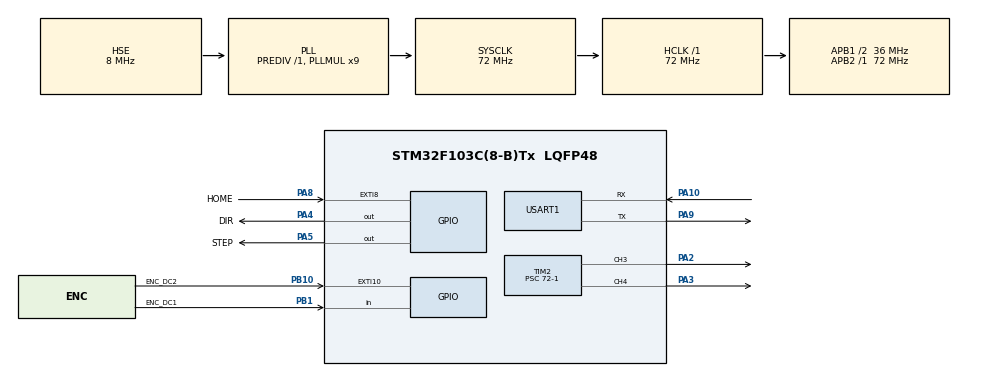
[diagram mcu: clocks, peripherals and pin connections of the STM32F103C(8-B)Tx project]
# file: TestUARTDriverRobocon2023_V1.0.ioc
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FREERTOS.Tasks01=TaskPos,0,128,Task_Pos,Default,NULL,Dynamic,NULL,NULL;TaskSpeed,1,128,Task_Speed,Default,NULL,Dynamic,NULL,NULL
Mcu.Family=STM32F1
Mcu.Name=STM32F103C(8-B)Tx
Mcu.Package=LQFP48
NVIC.EXTI15_10_IRQn=true\:5\:0\:false\:false\:true\:true\:true\:true\:true
NVIC.EXTI9_5_IRQn=true\:5\:0\:false\:false\:true\:true\:true\:true\:true
NVIC.PriorityGroup=NVIC_PRIORITYGROUP_4
NVIC.TIM3_IRQn=true\:5\:0\:true\:false\:true\:true\:true\:true\:true
NVIC.TIM4_IRQn=true\:15\:0\:false\:false\:true\:false\:false\:true\:true
NVIC.TimeBase=TIM4_IRQn
NVIC.TimeBaseIP=TIM4
NVIC.USART1_IRQn=true\:5\:0\:true\:false\:true\:true\:true\:true\:true
PA10.Mode=Asynchronous
PA10.Signal=USART1_RX
PA13.Mode=Serial_Wire
PA13.Signal=SYS_JTMS-SWDIO
PA14.Mode=Serial_Wire
PA14.Signal=SYS_JTCK-SWCLK
PA2.Signal=S_TIM2_CH3
PA3.Signal=S_TIM2_CH4
PA4.GPIO_Label=DIR
PA4.Signal=GPIO_Output
PA5.GPIO_Label=STEP
PA5.Signal=GPIO_Output
PA8.GPIO_Label=HOME
PA8.GPIO_PuPd=GPIO_PULLUP
PA8.Signal=GPXTI8
PA9.Mode=Asynchronous
PA9.Signal=USART1_TX
PB1.GPIO_Label=ENC_DC1
PB1.GPIO_PuPd=GPIO_PULLUP
PB1.Signal=GPIO_Input
PB10.GPIO_Label=ENC_DC2
PB10.GPIO_PuPd=GPIO_PULLUP
PB10.Signal=GPXTI10
PD0-OSC_IN.Mode=HSE-External-Oscillator
PD0-OSC_IN.Signal=RCC_OSC_IN
PD1-OSC_OUT.Mode=HSE-External-Oscillator
PD1-OSC_OUT.Signal=RCC_OSC_OUT
ProjectManager.HeapSize=0x200
ProjectManager.StackSize=0x400
ProjectManager.TargetToolchain=STM32CubeIDE
RCC.AHBFreq_Value=72000000
RCC.APB1CLKDivider=RCC_HCLK_DIV2
RCC.APB1Freq_Value=36000000
RCC.APB1TimFreq_Value=72000000
RCC.APB2Freq_Value=72000000
RCC.APB2TimFreq_Value=72000000
RCC.HCLKFreq_Value=72000000
RCC.PLLMUL=RCC_PLL_MUL9
RCC.PLLSourceVirtual=RCC_PLLSOURCE_HSE
RCC.SYSCLKFreq_VALUE=72000000
RCC.SYSCLKSource=RCC_SYSCLKSOURCE_PLLCLK
RCC.USBFreq_Value=72000000
SH.S_TIM2_CH3.0=TIM2_CH3,PWM Generation3 CH3
SH.S_TIM2_CH4.0=TIM2_CH4,PWM Generation4 CH4
TIM2.Channel-PWM\ Generation3\ CH3=TIM_CHANNEL_3
TIM2.Channel-PWM\ Generation4\ CH4=TIM_CHANNEL_4
TIM2.Period=1000-1
TIM2.Prescaler=72-1
TIM3.Period=1000-1
TIM3.Prescaler=72-1
USART1.VirtualMode=VM_ASYNC
VP_FREERTOS_VS_CMSIS_V1.Mode=CMSIS_V1
VP_SYS_VS_tim4.Mode=TIM4
VP_TIM2_VS_ClockSourceINT.Mode=Internal
VP_TIM3_VS_ClockSourceINT.Mode=Internal
board=custom

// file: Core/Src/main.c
/* USER CODE BEGIN Header */
/**
  ******************************************************************************
  * @file           : main.c
  * @brief          : Main program body
  ******************************************************************************
  * @attention
  *
  * Copyright (c) 2023 STMicroelectronics.
  * All rights reserved.
  *
  * This software is licensed under terms that can be found in the LICENSE file
  * in the root directory of this software component.
  * If no LICENSE file comes with this software, it is provided AS-IS.
  *
  ******************************************************************************
  */
/* USER CODE END Header */
#include "main.h"
#include "cmsis_os.h"

/* USER CODE BEGIN Includes */
#include<stdlib.h>
/* USER CODE END Includes */

TIM_HandleTypeDef htim2;
TIM_HandleTypeDef htim3;

UART_HandleTypeDef huart1;

osThreadId TaskPosHandle;
osThreadId TaskSpeedHandle;

void SystemClock_Config(void);
static void MX_GPIO_Init(void);
static void MX_USART1_UART_Init(void);
static void MX_TIM2_Init(void);
static void MX_TIM3_Init(void);
void Task_Pos(void const * argument);
void Task_Speed(void const * argument);

/* USER CODE BEGIN 0 */

#define ID 1

int BoardID;
int intial_Rotate = 300;
uint8_t Mode;
int Dir;
uint16_t Speed;
uint16_t Rotate ;

//PID_SPEED_VAR:
int count1,home;
int pre_vt;
int  count1,precount1;
double e1;
double v1; // van toc tho
double v1Filt; // van toc sau khi duoc loc
double v1Prev; // van toc truoc do phuc vu bo loc
double v_target; // van toc nham toi
double u1; // tổng
double kp1 = 0.5,ki1 = 5,kd1=0; // chỉ số khâu P,I
double up1,ui1,ud1,ui_p1;

int dir , pwm; // biến chieu và tốc độ
double pos;

//int p_target;
//double e2;
//double ei2;
//double ed2;
//double pre_e2;
//double u2;
//double kp2 = 0.4, ki2 = 0.0005, kd2 = 0.3;
//double up2,ui2,ud2,ui_p2;
//int counter2;
int preMode;

int mode=3;
int delay; //control toc do dong co buoc
int currentAngle; // goc hien tai
int numstep; //so buoc can di
int pre_angle;
double anglePerStep=1;//che do /1;
int angle;//goc can huong toi

char UARTRX1_Buffer[17];
char DataMain[17];

void HAL_UART_RxCpltCallback(UART_HandleTypeDef *huart){
	if(huart->Instance == USART1){
		HAL_UART_Receive_IT(&huart1, (uint8_t*)UARTRX1_Buffer, 17);

		int ViTriData = -1;
		for(int i = 0; i <= 16; ++i){
			if(UARTRX1_Buffer[i] == 149){
				ViTriData = i;
			}
		}

		if(ViTriData != -1){
			int cnt = 0;
			while(cnt < 17){
				DataMain[cnt] = UARTRX1_Buffer[ViTriData];
				++ViTriData;
				if(ViTriData == 17){
					ViTriData = 0;
				}
				++cnt;
			}
		}

		if(BoardID == 1){
			Mode = (DataMain[1] >> 1) & 3;
			if((DataMain[1] & 1) == 0){
				Dir = -1;
			}
			else if((DataMain[1] & 1) == 1){
				Dir = 1;
			}

			Speed = DataMain[2] << 8 | DataMain[3];
			Rotate = DataMain[4] << 8 | DataMain[5];
		}
		else if(BoardID == 2){
			Mode = (DataMain[6] >> 1) & 3;
			if((DataMain[6] & 1) == 0){
				Dir = -1;
			}
			else if((DataMain[6] & 1) == 1){
				Dir = 1;
			}

			Speed = DataMain[7] << 8 | DataMain[8];
			Rotate = DataMain[9] << 8 | DataMain[10];
		}
		else if(BoardID == 3){
			Mode = (DataMain[11] >> 1) & 3;
			if((DataMain[11] & 1) == 0){
				Dir = -1;
			}
			else if((DataMain[11] & 1) == 1){
				Dir = 1;
			}

			Speed = DataMain[12] << 8 | DataMain[13];
			Rotate = DataMain[14] << 8 | DataMain[15];
		}
	}
}
/* USER CODE END 0 */

int main(void)
{

  /* MCU Configuration--------------------------------------------------------*/

  /* Reset of all peripherals, Initializes the Flash interface and the Systick. */
  HAL_Init();

  /* Configure the system clock */
  SystemClock_Config();

  /* Initialize all configured peripherals */
  MX_GPIO_Init();
  MX_USART1_UART_Init();
  MX_TIM2_Init();
  MX_TIM3_Init();
  /* USER CODE BEGIN 2 */
  HAL_TIM_PWM_Start(&htim2,TIM_CHANNEL_3);
  HAL_TIM_PWM_Start(&htim2,TIM_CHANNEL_4);
  HAL_TIM_Base_Start_IT(&htim3);
  BoardID = ID;
  while(HAL_UART_Receive_IT(&huart1, (uint8_t*)UARTRX1_Buffer, 17)!=HAL_OK){};

  /* USER CODE END 2 */

  /* Create the thread(s) */
  /* definition and creation of TaskPos */
  osThreadDef(TaskPos, Task_Pos, osPriorityNormal, 0, 128);
  TaskPosHandle = osThreadCreate(osThread(TaskPos), NULL);

  /* definition and creation of TaskSpeed */
  osThreadDef(TaskSpeed, Task_Speed, osPriorityAboveNormal, 0, 128);
  TaskSpeedHandle = osThreadCreate(osThread(TaskSpeed), NULL);

  /* Start scheduler */
  osKernelStart();

  /* We should never get here as control is now taken by the scheduler */
  /* Infinite loop */
  /* USER CODE BEGIN WHILE */
  while (1)
  {

//	  	for(int i = 0; i<= sizeof(UARTRX1_Buffer); ++i){
////	  		ViTriData = -1;
//	  		if((UARTRX1_Buffer[i] == 123) && (UARTRX1_Buffer[i + 6] == BoardID)){
//	  			ViTriData = i;
//	  			memset(DataRecieve, 0, sizeof(DataRecieve));
//	  			int cnt = -1;
//	  			while(1){
//	  				++cnt;
//	  				DataRecieve[cnt] = UARTRX1_Buffer[ViTriData];
//	  				++ViTriData;
//	  				if(UARTRX1_Buffer[ViTriData] == 13){
//	  					break;
//	  				}
//	  			}
//	  			break;
//	  		}
//	  	}
//
//	  	uint16_t _size = sizeof(UARTRX1_Buffer);
//		huart1.RxXferCount = _size;
//		huart1.pRxBuffPtr = (uint8_t *)&UARTRX1_Buffer[0];
//		memset(UARTRX1_Buffer, 0, _size);

//		HAL_Delay(500);
    /* USER CODE END WHILE */

  }
}

void SystemClock_Config(void)
{
  RCC_OscInitTypeDef RCC_OscInitStruct = {0};
  RCC_ClkInitTypeDef RCC_ClkInitStruct = {0};

  /** Initializes the RCC Oscillators according to the specified parameters
  * in the RCC_OscInitTypeDef structure.
  */
  RCC_OscInitStruct.OscillatorType = RCC_OSCILLATORTYPE_HSE;
  RCC_OscInitStruct.HSEState = RCC_HSE_ON;
  RCC_OscInitStruct.HSEPredivValue = RCC_HSE_PREDIV_DIV1;
  RCC_OscInitStruct.HSIState = RCC_HSI_ON;
  RCC_OscInitStruct.PLL.PLLState = RCC_PLL_ON;
  RCC_OscInitStruct.PLL.PLLSource = RCC_PLLSOURCE_HSE;
  RCC_OscInitStruct.PLL.PLLMUL = RCC_PLL_MUL9;
  if (HAL_RCC_OscConfig(&RCC_OscInitStruct) != HAL_OK)
  {
    Error_Handler();
  }

  /** Initializes the CPU, AHB and APB buses clocks
  */
  RCC_ClkInitStruct.ClockType = RCC_CLOCKTYPE_HCLK|RCC_CLOCKTYPE_SYSCLK
                              |RCC_CLOCKTYPE_PCLK1|RCC_CLOCKTYPE_PCLK2;
  RCC_ClkInitStruct.SYSCLKSource = RCC_SYSCLKSOURCE_PLLCLK;
  RCC_ClkInitStruct.AHBCLKDivider = RCC_SYSCLK_DIV1;
  RCC_ClkInitStruct.APB1CLKDivider = RCC_HCLK_DIV2;
  RCC_ClkInitStruct.APB2CLKDivider = RCC_HCLK_DIV1;

  if (HAL_RCC_ClockConfig(&RCC_ClkInitStruct, FLASH_LATENCY_2) != HAL_OK)
  {
    Error_Handler();
  }
}

static void MX_TIM2_Init(void)
{

  TIM_ClockConfigTypeDef sClockSourceConfig = {0};
  TIM_MasterConfigTypeDef sMasterConfig = {0};
  TIM_OC_InitTypeDef sConfigOC = {0};

  htim2.Instance = TIM2;
  htim2.Init.Prescaler = 72-1;
  htim2.Init.CounterMode = TIM_COUNTERMODE_UP;
  htim2.Init.Period = 1000-1;
  htim2.Init.ClockDivision = TIM_CLOCKDIVISION_DIV1;
  htim2.Init.AutoReloadPreload = TIM_AUTORELOAD_PRELOAD_DISABLE;
  if (HAL_TIM_Base_Init(&htim2) != HAL_OK)
  {
    Error_Handler();
  }
  sClockSourceConfig.ClockSource = TIM_CLOCKSOURCE_INTERNAL;
  if (HAL_TIM_ConfigClockSource(&htim2, &sClockSourceConfig) != HAL_OK)
  {
    Error_Handler();
  }
  if (HAL_TIM_PWM_Init(&htim2) != HAL_OK)
  {
    Error_Handler();
  }
  sMasterConfig.MasterOutputTrigger = TIM_TRGO_RESET;
  sMasterConfig.MasterSlaveMode = TIM_MASTERSLAVEMODE_DISABLE;
  if (HAL_TIMEx_MasterConfigSynchronization(&htim2, &sMasterConfig) != HAL_OK)
  {
    Error_Handler();
  }
  sConfigOC.OCMode = TIM_OCMODE_PWM1;
  sConfigOC.Pulse = 0;
  sConfigOC.OCPolarity = TIM_OCPOLARITY_HIGH;
  sConfigOC.OCFastMode = TIM_OCFAST_DISABLE;
  if (HAL_TIM_PWM_ConfigChannel(&htim2, &sConfigOC, TIM_CHANNEL_3) != HAL_OK)
  {
    Error_Handler();
  }
  if (HAL_TIM_PWM_ConfigChannel(&htim2, &sConfigOC, TIM_CHANNEL_4) != HAL_OK)
  {
    Error_Handler();
  }
  HAL_TIM_MspPostInit(&htim2);

}

static void MX_TIM3_Init(void)
{

  TIM_ClockConfigTypeDef sClockSourceConfig = {0};
  TIM_MasterConfigTypeDef sMasterConfig = {0};

  htim3.Instance = TIM3;
  htim3.Init.Prescaler = 72-1;
  htim3.Init.CounterMode = TIM_COUNTERMODE_UP;
  htim3.Init.Period = 1000-1;
  htim3.Init.ClockDivision = TIM_CLOCKDIVISION_DIV1;
  htim3.Init.AutoReloadPreload = TIM_AUTORELOAD_PRELOAD_DISABLE;
  if (HAL_TIM_Base_Init(&htim3) != HAL_OK)
  {
    Error_Handler();
  }
  sClockSourceConfig.ClockSource = TIM_CLOCKSOURCE_INTERNAL;
  if (HAL_TIM_ConfigClockSource(&htim3, &sClockSourceConfig) != HAL_OK)
  {
    Error_Handler();
  }
  sMasterConfig.MasterOutputTrigger = TIM_TRGO_RESET;
  sMasterConfig.MasterSlaveMode = TIM_MASTERSLAVEMODE_DISABLE;
  if (HAL_TIMEx_MasterConfigSynchronization(&htim3, &sMasterConfig) != HAL_OK)
  {
    Error_Handler();
  }

}

static void MX_USART1_UART_Init(void)
{

  huart1.Instance = USART1;
  huart1.Init.BaudRate = 115200;
  huart1.Init.WordLength = UART_WORDLENGTH_8B;
  huart1.Init.StopBits = UART_STOPBITS_1;
  huart1.Init.Parity = UART_PARITY_NONE;
  huart1.Init.Mode = UART_MODE_TX_RX;
  huart1.Init.HwFlowCtl = UART_HWCONTROL_NONE;
  huart1.Init.OverSampling = UART_OVERSAMPLING_16;
  if (HAL_UART_Init(&huart1) != HAL_OK)
  {
    Error_Handler();
  }

}

static void MX_GPIO_Init(void)
{
  GPIO_InitTypeDef GPIO_InitStruct = {0};

  /* GPIO Ports Clock Enable */
  __HAL_RCC_GPIOD_CLK_ENABLE();
  __HAL_RCC_GPIOA_CLK_ENABLE();
  __HAL_RCC_GPIOB_CLK_ENABLE();

  /*Configure GPIO pin Output Level */
  HAL_GPIO_WritePin(GPIOA, DIR_Pin|STEP_Pin, GPIO_PIN_RESET);

  /*Configure GPIO pins : DIR_Pin STEP_Pin */
  GPIO_InitStruct.Pin = DIR_Pin|STEP_Pin;
  GPIO_InitStruct.Mode = GPIO_MODE_OUTPUT_PP;
  GPIO_InitStruct.Pull = GPIO_NOPULL;
  GPIO_InitStruct.Speed = GPIO_SPEED_FREQ_LOW;
  HAL_GPIO_Init(GPIOA, &GPIO_InitStruct);

  /*Configure GPIO pin : ENC_DC1_Pin */
  GPIO_InitStruct.Pin = ENC_DC1_Pin;
  GPIO_InitStruct.Mode = GPIO_MODE_INPUT;
  GPIO_InitStruct.Pull = GPIO_PULLUP;
  HAL_GPIO_Init(ENC_DC1_GPIO_Port, &GPIO_InitStruct);

  /*Configure GPIO pin : ENC_DC2_Pin */
  GPIO_InitStruct.Pin = ENC_DC2_Pin;
  GPIO_InitStruct.Mode = GPIO_MODE_IT_RISING;
  GPIO_InitStruct.Pull = GPIO_PULLUP;
  HAL_GPIO_Init(ENC_DC2_GPIO_Port, &GPIO_InitStruct);

  /*Configure GPIO pin : HOME_Pin */
  GPIO_InitStruct.Pin = HOME_Pin;
  GPIO_InitStruct.Mode = GPIO_MODE_IT_RISING;
  GPIO_InitStruct.Pull = GPIO_PULLUP;
  HAL_GPIO_Init(HOME_GPIO_Port, &GPIO_InitStruct);

  /* EXTI interrupt init*/
  HAL_NVIC_SetPriority(EXTI9_5_IRQn, 5, 0);
  HAL_NVIC_EnableIRQ(EXTI9_5_IRQn);

  HAL_NVIC_SetPriority(EXTI15_10_IRQn, 5, 0);
  HAL_NVIC_EnableIRQ(EXTI15_10_IRQn);

}

/* USER CODE BEGIN 4 */

void HAL_GPIO_EXTI_Callback(uint16_t GPIO_Pin)
{
	//Encoder DC-SPEED
	if (GPIO_Pin == ENC_DC2_Pin){
		if (HAL_GPIO_ReadPin(ENC_DC1_GPIO_Port,ENC_DC1_Pin) == 0) {count1++;}
		else {count1--;}
	}
	if(GPIO_Pin == HOME_Pin){
			home = 1;
		}
}
int vPos;
void driveStep(){
	int n =0;

	if(angle > 1000){angle = currentAngle;}
		if( currentAngle != angle ){
//			vPos = 0;
			if( currentAngle < angle){
				HAL_GPIO_WritePin(DIR_GPIO_Port, DIR_Pin, 1);
				n = angle - currentAngle;
				numstep = n;
			}
			else if( currentAngle > angle){
				HAL_GPIO_WritePin(DIR_GPIO_Port, DIR_Pin, 0);
				n = currentAngle - angle;
				numstep = n;
			}
			for(int x = 0; x < numstep; x++) {
//				if ((x > 3/5*numstep)&&(x<4/5*numstep)){delay = 2;}
//				else if (x>4/5*numstep)  delay = 3;
//				else delay = 1;
				HAL_GPIO_WritePin(STEP_GPIO_Port, STEP_Pin, 1);
				osDelay(1);
				HAL_GPIO_WritePin(STEP_GPIO_Port, STEP_Pin, 0);
				osDelay(1);
			}

			currentAngle = angle;
		}
}
int stp;
void findHome(){// Tim lai nha
		Rotate = intial_Rotate;
		angle = intial_Rotate;
		currentAngle = intial_Rotate;

		for (stp = 0;stp<300*3;stp++){
			HAL_GPIO_WritePin(DIR_GPIO_Port, DIR_Pin, 1);
			HAL_GPIO_WritePin(STEP_GPIO_Port, STEP_Pin, 1);
			osDelay(1);
			HAL_GPIO_WritePin(STEP_GPIO_Port, STEP_Pin, 0);
			osDelay(1);
			if (home == 1)break;
		}
		for (stp = 0;stp<400*3;stp++){
			HAL_GPIO_WritePin(DIR_GPIO_Port, DIR_Pin, 0);
			HAL_GPIO_WritePin(STEP_GPIO_Port, STEP_Pin, 1);
			osDelay(1);
			HAL_GPIO_WritePin(STEP_GPIO_Port, STEP_Pin, 0);
			osDelay(1);
			if (home == 1)break;
		}

}
double udf2,uf2_p;
//void posControlPID(){
//
//	e2 = p_target - counter2;
//
//	up2 = kp2*e2;
//	ud2 = kd2*(e2 - pre_e2)/0.001;
//	ui2 = ui_p2 + ki2*e2*0.001;
//	udf2 = (1-0.5)*uf2_p+0.5*ud2;
//
//	pre_e2 = e2;
//	ui_p2 = ui2;
//	uf2_p = udf2;
//
//	u2 = up2 + udf2+ui2;
//	if (u2>0)dir=-1;
//	else if(u2<0)dir = 1;
//	else dir = 0;
//	if(u2>400)u2 =400;
//	else if (u2<-300)u2 =-300;
//	pwm = abs(u2);
//	if ((pwm<130)&&(e2!=0)){
//		pwm = 130;
//
//	}
//}
double pre1;
double ui1max = 1000;
void calculatePIDSpeed(){

	e1 = v_target - v1; // tinh toan loi ty le

	up1 = kp1*e1;
	ui1 = ui_p1 + ki1*e1*0.001;
	if (ui1>ui1max)ui1 = ui1max;
	else if(ui1<-ui1max)ui1 = -ui1max;
	u1 = up1  + ui1; //Tinh tong bo dieu khien
	pre1 = e1;
	ui_p1 = ui1;

	if(u1 < 0) dir = 1; //bien doi chiue vong quay
	else dir = -1;

	if(u1>1000)u1 =1000;
	else if (u1<-1000)u1 =-1000;
	pwm = abs(u1);//Bao hoa xung cap
}
//Ham dam bao cap duong nguon xung pwm
void ControlMotor(int ChannelA, int ChannelB){
	__HAL_TIM_SET_COMPARE(&htim2, TIM_CHANNEL_3, 1000-ChannelA);
	__HAL_TIM_SET_COMPARE(&htim2, TIM_CHANNEL_4, 1000-ChannelB);
}
//Ham cap xung cho dong co
void driveSpeed(int dir , int pwmVal){
	if (dir == -1){
		ControlMotor(pwmVal,0);
	}
	else if (dir == 1){
		ControlMotor(0,pwmVal);
	}
	else{
		ControlMotor(0,0);
	}
}
/* USER CODE END 4 */

void Task_Pos(void const * argument)
{
  /* USER CODE BEGIN 5 */
  /* Infinite loop */
  for(;;)
  {
	  if (Mode == 3){
	  	  home = 0;
	  	  osDelay(3000);
	  	  Mode = 4;
	    }
	  if (HAL_GPIO_ReadPin(HOME_GPIO_Port, HOME_Pin) == 1){
			  home = 1;
		  }
	  if (home == 0){
			findHome();

		}
		else if((home == 1)&&(Mode != 3)){

			angle = Rotate;
			driveStep();
			osDelay(1);
		}
    osDelay(1);
  }
  /* USER CODE END 5 */
}

void Task_Speed(void const * argument)
{
  /* USER CODE BEGIN Task_Speed */
  /* Infinite loop */
  for(;;)
  {

  	  if (Mode != preMode){
  		 count1 = 0;
  		 precount1 = 0;
  	  }
  	  if((Mode == 1)||(Mode == 2)){
  		driveSpeed(-dir,pwm);
  	  }
  	  if(Mode == 0){
  		driveSpeed(0,0);
  		count1=0;precount1 =0;
  		ui_p1 = 0;ui1 = 0;
  	  }
  	  if (Mode != preMode){ui_p1 = 0;
  	  	  	  	  	  	   ui1 = 0;
  	  }
  	  preMode = Mode;
    osDelay(1);
  }
  /* USER CODE END Task_Speed */
}

void HAL_TIM_PeriodElapsedCallback(TIM_HandleTypeDef *htim)
{
  if (htim->Instance == TIM4) {
    HAL_IncTick();
  }
  /* USER CODE BEGIN Callback 1 */
  if (htim->Instance == TIM3) {
	  pos = count1 - precount1;
	  	v1 = ((pos/0.001)/100)*60; //�?ổi vận tốc qua rpm,(Vận tốc ảo)
	  	v1Filt = 0.854 * v1Filt + 0.0728 * v1 + 0.0728 * v1Prev;//Bo loc van toc thong thap
	  	v1Prev = v1; //cập nhật biến V1
	  	precount1 = count1;
	  	 if(((Mode == 2 )||(Mode == 1))&&(home == 1)){
	  	  		v_target  = Dir*Speed;
	  			calculatePIDSpeed();
	  	  	  }
    }

  /* USER CODE END Callback 1 */
}

void Error_Handler(void)
{
  __disable_irq();
  while (1)
  {
  }
}
